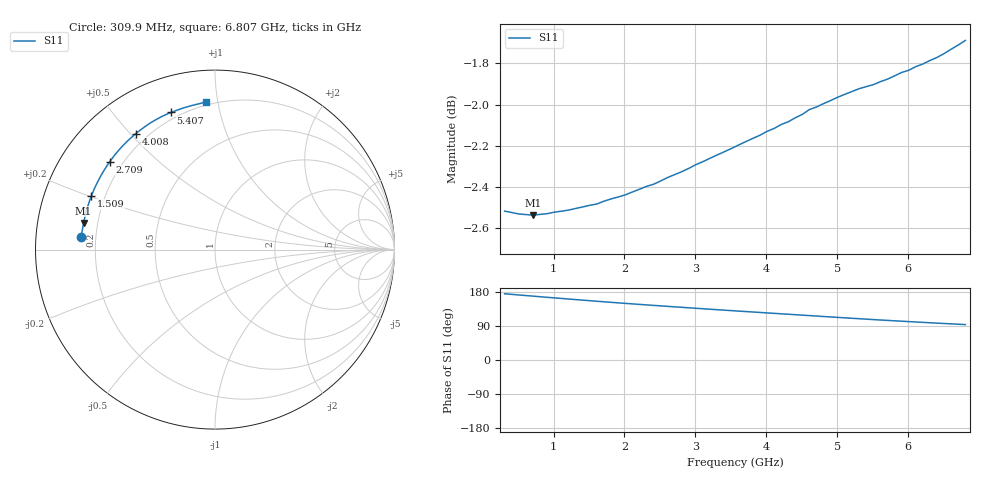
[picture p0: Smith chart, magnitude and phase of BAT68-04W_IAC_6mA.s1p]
! Infineon Technologies  Discrete & RF Semiconductors
! BAT68-04W
! IAC = 6 mA
! One-Port S-Parameters
# Hz  S  MA  R  50
!f  S11
!Hz  Mag  Ang
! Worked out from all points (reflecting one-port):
!   66 points, 309.9 MHz to 6.807 GHz, reference 50 ohm
!   lowest |S11| = -2.5 dB at 709.6 MHz (marker M1), VSWR 6.90, Z = 7.32 + j4.9 ohm
!   phase of S11 starts at 175 deg and turns -81 deg over the sweep
!   S11 on the Smith chart (normalised r, x): 309.9 MHz: 0.14, +0.04; 1.509 GHz: 0.15, +0.20; 2.709 GHz: 0.15, +0.35; 4.008 GHz: 0.16, +0.52; 5.407 GHz: 0.17, +0.72; 6.807 GHz: 0.18, +0.93
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3.0985e8  0.7484 174.7
5.0975e8  0.7472 171.6
7.0965e8  0.7467 168.6
8.096e8  0.747 167.0
1.0095e9  0.7479 163.9
1.2094e9  0.7488 160.9
1.50925e9  0.7508 156.5
1.8091e9  0.7535 152.2
2.009e9  0.7552 149.4
2.30885e9  0.7588 145.5
2.6087e9  0.7626 141.6
2.70865e9  0.7638 140.2
2.8086e9  0.7651 139.1
3.0085e9  0.7681 136.5
3.2084e9  0.7709 134.0
3.6082e9  0.7766 129.1
4.008e9  0.7825 124.3
4.2079e9  0.7855 121.9
4.30785e9  0.7867 120.8
4.4078e9  0.7885 119.6
4.6077e9  0.7922 117.2
4.8076e9  0.7948 114.8
5.2074e9  0.8002 110.1
5.4073e9  0.8024 107.8
5.8071e9  0.8072 103.4
6.007e9  0.8097 101.4
6.30685e9  0.8142 98.3
6.8066e9  0.8234 93.4
